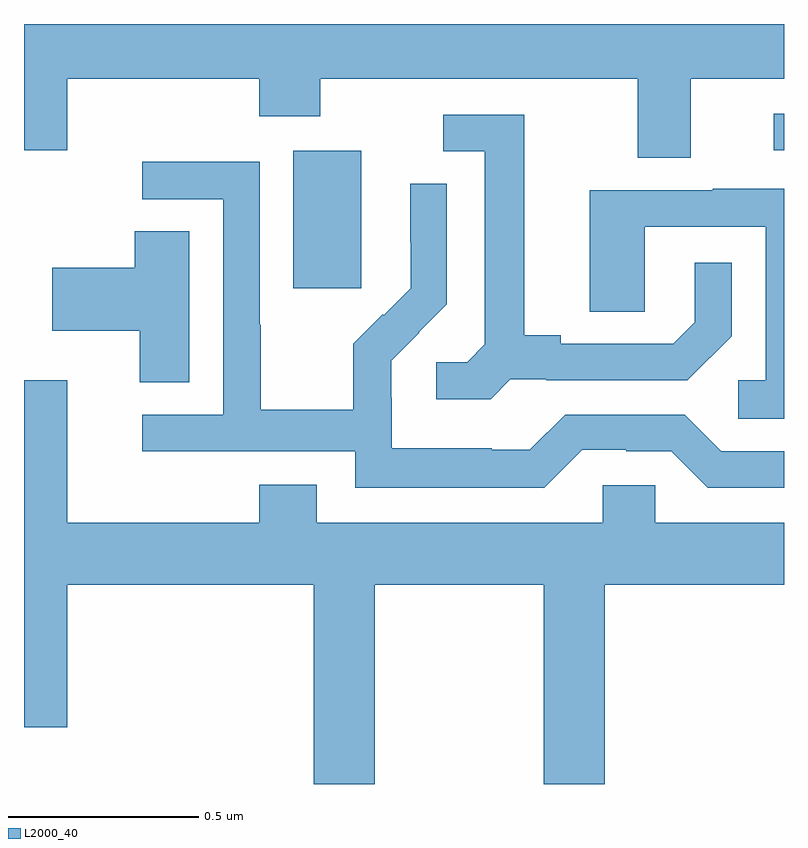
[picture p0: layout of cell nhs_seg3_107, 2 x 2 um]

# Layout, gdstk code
import gdstk
lib = gdstk.Library(unit=1e-6, precision=1e-09)
def R(c, l, rs):  # rectangles x0, y0, x1, y1
    for r in rs: c.add(gdstk.rectangle(r[:2], r[2:], *l))
def P(c, l, *ps):  # polygons
    for p in ps: c.add(gdstk.Polygon(p, *l))
L2000_40 = (2000, 40)

nhs_seg3_107 = lib.new_cell('nhs_seg3_107')
R(nhs_seg3_107, L2000_40, [(112.709,693.705,112.888,694.066), (113.973,694.068,114,694.164)])
P(nhs_seg3_107, L2000_40, [(113.755,694.256),(114,694.256),(114,694.4),(112,694.4),(112,694.068),(112.114,694.068),(112.114,694.256),(112.619,694.256),(112.619,694.157),(112.779,694.157),(112.779,694.256),(113.615,694.256),(113.615,694.048),(113.755,694.048)],
  [(113.28,693.465),(113.374,693.465),(113.374,693.462),(113.746,693.462),(113.862,693.578),(113.862,693.772),(113.765,693.772),(113.765,693.615),(113.708,693.558),(113.413,693.558),(113.413,693.581),(113.317,693.581),(113.317,694.161),(113.103,694.161),(113.103,694.065),(113.213,694.065),(113.213,693.557),(113.166,693.51),(113.085,693.51),(113.085,693.413),(113.228,693.413)],
  [(113.469,693.279),(113.585,693.279),(113.585,693.276),(113.703,693.276),(113.799,693.18),(114,693.18),(114,693.276),(113.835,693.276),(113.739,693.372),(113.424,693.372),(113.331,693.279),(113.231,693.279),(113.231,693.283),(112.968,693.283),(112.968,693.417),(112.966,693.417),(112.966,693.514),(113.04,693.588),(113.039,693.589),(113.112,693.662),(113.112,693.98),(113.016,693.98),(113.016,693.826),(113.018,693.826),(113.018,693.704),(112.947,693.633),(112.944,693.636),(112.867,693.559),(112.867,693.385),(112.623,693.385),(112.623,693.608),(112.62,693.608),(112.62,694.038),(112.311,694.038),(112.311,693.939),(112.524,693.939),(112.524,693.372),(112.311,693.372),(112.311,693.276),(112.872,693.276),(112.872,693.179),(113.369,693.179)],
  [(114,693.967),(113.813,693.967),(113.813,693.963),(113.489,693.963),(113.489,693.643),(113.634,693.643),(113.634,693.867),(113.952,693.867),(113.952,693.462),(113.88,693.462),(113.88,693.361),(114,693.361)],
  [(112.435,693.854),(112.292,693.854),(112.292,693.759),(112.074,693.759),(112.074,693.593),(112.304,693.593),(112.304,693.457),(112.435,693.457)],
  [(112.923,692.924),(113.368,692.924),(113.368,692.4),(113.528,692.4),(113.528,692.924),(114,692.924),(114,693.088),(113.661,693.088),(113.661,693.186),(113.523,693.186),(113.523,693.088),(112.771,693.088),(112.771,693.187),(112.619,693.187),(112.619,693.088),(112.114,693.088),(112.114,693.463),(112,693.463),(112,692.55),(112.114,692.55),(112.114,692.924),(112.763,692.924),(112.763,692.4),(112.923,692.4)])

lib.write_gds('nhs_seg3_107.gds')
